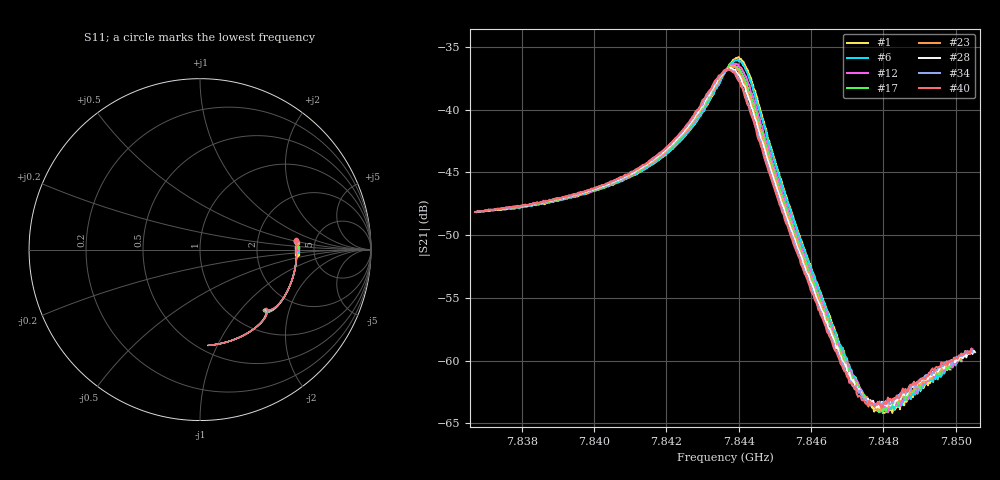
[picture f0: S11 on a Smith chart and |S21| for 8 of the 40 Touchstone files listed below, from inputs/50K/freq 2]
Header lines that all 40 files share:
#  HZ  S  RI  R  50.00
! Rohde & Schwarz Vector Network Analyzer
! Rohde-Schwarz,ZNB20-2Port,1311601062101988,3.16
! freq[Hz]  re:S11  im:S11  re:S21  im:S21  re:S12  im:S12  re:S22  im:S22
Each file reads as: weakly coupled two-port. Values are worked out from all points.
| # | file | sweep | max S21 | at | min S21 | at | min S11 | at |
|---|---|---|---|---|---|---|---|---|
| 1 | 2_2_48.0978_50.1339569_0.105_.s2p | 7.83792 GHz to 7.84986 GHz | -35.81 dB | 7.84398 GHz | -64.2 dB | 7.84825 GHz | -5.8 dB | 7.8441 GHz |
| 2 | 8_2_48.0995_50.1349411_3460.44_.s2p | 7.83786 GHz to 7.84991 GHz | -35.80 dB | 7.84404 GHz | -64.3 dB | 7.84807 GHz | -5.8 dB | 7.8441 GHz |
| 3 | 18_2_48.1003_50.1318893_9504.017_.s2p | 7.83781 GHz to 7.84994 GHz | -35.91 dB | 7.84394 GHz | -64.3 dB | 7.84824 GHz | -5.8 dB | 7.84412 GHz |
| 4 | 20_2_48.0976_50.1303558_10655.225_.s2p | 7.83782 GHz to 7.84992 GHz | -35.97 dB | 7.84402 GHz | -64.1 dB | 7.84805 GHz | -5.8 dB | 7.84408 GHz |
| 5 | 22_2_48.1021_50.1324081_11766.674_.s2p | 7.83771 GHz to 7.85002 GHz | -35.97 dB | 7.84396 GHz | -64.4 dB | 7.84786 GHz | -5.8 dB | 7.84408 GHz |
| 6 | 25_2_48.1019_50.1302795_13768.46_.s2p | 7.83768 GHz to 7.85002 GHz | -36.00 dB | 7.84398 GHz | -64.1 dB | 7.84811 GHz | -5.8 dB | 7.84407 GHz |
| 7 | 28_2_48.0929_50.1281548_15530.755_.s2p | 7.83766 GHz to 7.85003 GHz | -36.03 dB | 7.84394 GHz | -64.3 dB | 7.8479 GHz | -5.8 dB | 7.84406 GHz |
| 8 | 30_2_48.0992_50.1272125_16661.857_.s2p | 7.83771 GHz to 7.84998 GHz | -36.06 dB | 7.8439 GHz | -64.3 dB | 7.84792 GHz | -5.8 dB | 7.84409 GHz |
| 9 | 31_2_48.1033_50.1251602_17242.338_.s2p | 7.83763 GHz to 7.85006 GHz | -36.10 dB | 7.84394 GHz | -64.0 dB | 7.84794 GHz | -5.8 dB | 7.84406 GHz |
| 10 | 32_2_48.0989_50.1253891_17822.809_.s2p | 7.83766 GHz to 7.85 GHz | -36.12 dB | 7.84396 GHz | -64.2 dB | 7.848 GHz | -5.8 dB | 7.84408 GHz |
| 11 | 45_2_48.1027_50.1146088_26370.846_.s2p | 7.83746 GHz to 7.85016 GHz | -36.23 dB | 7.84397 GHz | -64.1 dB | 7.848 GHz | -5.8 dB | 7.84403 GHz |
| 12 | 56_2_48.095_50.1056824_32948.688_.s2p | 7.8374 GHz to 7.85017 GHz | -36.32 dB | 7.84392 GHz | -64.1 dB | 7.84813 GHz | -5.8 dB | 7.84401 GHz |
| 13 | 57_2_48.0976_50.1040878_33490.859_.s2p | 7.83735 GHz to 7.85021 GHz | -36.32 dB | 7.84384 GHz | -64.1 dB | 7.84806 GHz | -5.8 dB | 7.84404 GHz |
| 14 | 61_2_48.1012_50.0984116_35818.113_.s2p | 7.83731 GHz to 7.85024 GHz | -36.33 dB | 7.8439 GHz | -64.1 dB | 7.84781 GHz | -5.8 dB | 7.84403 GHz |
| 15 | 69_2_48.1016_50.0912781_40643.867_.s2p | 7.83728 GHz to 7.85023 GHz | -36.42 dB | 7.84382 GHz | -64.1 dB | 7.84816 GHz | -5.8 dB | 7.84401 GHz |
| 16 | 77_2_48.0994_50.0836868_45570.02_.s2p | 7.83725 GHz to 7.85024 GHz | -36.45 dB | 7.84391 GHz | -64.0 dB | 7.84787 GHz | -5.8 dB | 7.84401 GHz |
| 17 | 78_2_48.1005_50.0830803_46151.539_.s2p | 7.83734 GHz to 7.85016 GHz | -36.48 dB | 7.84381 GHz | -64.1 dB | 7.84788 GHz | -5.8 dB | 7.84397 GHz |
| 18 | 79_2_48.0977_50.0823135_46733.98_.s2p | 7.83714 GHz to 7.85034 GHz | -36.46 dB | 7.84384 GHz | -64.0 dB | 7.8478 GHz | -5.8 dB | 7.84397 GHz |
| 19 | 86_2_48.1015_50.0783691_50997.973_.s2p | 7.83719 GHz to 7.85026 GHz | -36.46 dB | 7.84383 GHz | -63.9 dB | 7.84778 GHz | -5.8 dB | 7.84399 GHz |
| 20 | 89_2_48.0998_50.0728683_52702.871_.s2p | 7.83724 GHz to 7.85021 GHz | -36.51 dB | 7.84382 GHz | -63.9 dB | 7.8479 GHz | -5.8 dB | 7.84398 GHz |
| 21 | 90_2_48.0992_50.0717354_53274.965_.s2p | 7.83716 GHz to 7.85028 GHz | -36.47 dB | 7.84378 GHz | -63.9 dB | 7.84785 GHz | -5.8 dB | 7.84398 GHz |
| 22 | 91_2_48.0986_50.0726433_53846.52_.s2p | 7.83715 GHz to 7.8503 GHz | -36.52 dB | 7.84382 GHz | -63.9 dB | 7.8478 GHz | -5.8 dB | 7.84399 GHz |
| 23 | 98_2_48.1006_50.0671806_58160.227_.s2p | 7.837 GHz to 7.85042 GHz | -36.56 dB | 7.84384 GHz | -64.0 dB | 7.84783 GHz | -5.8 dB | 7.84398 GHz |
| 24 | 104_2_48.0998_50.0605392_61862.785_.s2p | 7.83706 GHz to 7.85033 GHz | -36.54 dB | 7.84379 GHz | -63.9 dB | 7.84778 GHz | -5.7 dB | 7.84396 GHz |
| 25 | 105_2_48.0998_50.0617561_62415.207_.s2p | 7.83723 GHz to 7.85017 GHz | -36.53 dB | 7.8438 GHz | -63.9 dB | 7.84807 GHz | -5.7 dB | 7.84396 GHz |
| 26 | 109_2_48.1026_50.0549736_64735.93_.s2p | 7.83696 GHz to 7.85042 GHz | -36.61 dB | 7.84379 GHz | -63.9 dB | 7.84813 GHz | -5.7 dB | 7.84396 GHz |
| 27 | 114_2_48.0992_50.0525475_67920.109_.s2p | 7.83713 GHz to 7.85024 GHz | -36.61 dB | 7.84382 GHz | -63.8 dB | 7.84782 GHz | -5.7 dB | 7.84391 GHz |
| 28 | 119_2_48.1047_50.0467873_70822.844_.s2p | 7.83678 GHz to 7.85053 GHz | -36.67 dB | 7.84376 GHz | -63.8 dB | 7.84775 GHz | -5.7 dB | 7.84393 GHz |
| 29 | 129_2_48.0999_50.0370674_76878.734_.s2p | 7.83698 GHz to 7.85032 GHz | -36.67 dB | 7.84378 GHz | -64.1 dB | 7.84785 GHz | -5.7 dB | 7.84392 GHz |
| 30 | 134_2_48.1023_50.0324478_80003.391_.s2p | 7.8369 GHz to 7.85037 GHz | -36.77 dB | 7.84367 GHz | -63.8 dB | 7.84784 GHz | -5.7 dB | 7.8439 GHz |
| 31 | 138_2_48.0994_50.0278244_82301.531_.s2p | 7.83686 GHz to 7.8504 GHz | -36.76 dB | 7.8437 GHz | -63.8 dB | 7.84783 GHz | -5.7 dB | 7.8439 GHz |
| 32 | 139_2_48.101_50.0292549_82896.086_.s2p | 7.83686 GHz to 7.85038 GHz | -36.79 dB | 7.84373 GHz | -63.7 dB | 7.84782 GHz | -5.7 dB | 7.84386 GHz |
| 33 | 142_2_48.1014_50.0267563_84619.023_.s2p | 7.83674 GHz to 7.85049 GHz | -36.80 dB | 7.84372 GHz | -63.7 dB | 7.84798 GHz | -5.7 dB | 7.84386 GHz |
| 34 | 144_2_48.0998_50.0239563_86101.383_.s2p | 7.83675 GHz to 7.85047 GHz | -36.77 dB | 7.84371 GHz | -63.7 dB | 7.84793 GHz | -5.7 dB | 7.84388 GHz |
| 35 | 145_2_48.0977_50.0238037_86635.531_.s2p | 7.83689 GHz to 7.85036 GHz | -36.81 dB | 7.84373 GHz | -64.0 dB | 7.84784 GHz | -5.7 dB | 7.84386 GHz |
| 36 | 150_2_48.0994_50.0178757_89516.82_.s2p | 7.83689 GHz to 7.85034 GHz | -36.84 dB | 7.84372 GHz | -63.7 dB | 7.84785 GHz | -5.7 dB | 7.84388 GHz |
| 37 | 155_2_48.0979_50.0198402_88135.93_.s2p | 7.83668 GHz to 7.85047 GHz | -36.79 dB | 7.84371 GHz | -63.8 dB | 7.84781 GHz | -5.7 dB | 7.84385 GHz |
| 38 | 160_2_48.1004_50.0234489_85289.773_.s2p | 7.83673 GHz to 7.85044 GHz | -36.79 dB | 7.84369 GHz | -63.8 dB | 7.84766 GHz | -5.7 dB | 7.84386 GHz |
| 39 | 161_2_48.0961_50.0229187_84700.484_.s2p | 7.83656 GHz to 7.8506 GHz | -36.80 dB | 7.84368 GHz | -63.9 dB | 7.84775 GHz | -5.7 dB | 7.84383 GHz |
| 40 | 165_2_48.0996_50.0295067_82134.195_.s2p | 7.83671 GHz to 7.85046 GHz | -36.74 dB | 7.84372 GHz | -63.8 dB | 7.84795 GHz | -5.7 dB | 7.84386 GHz |
